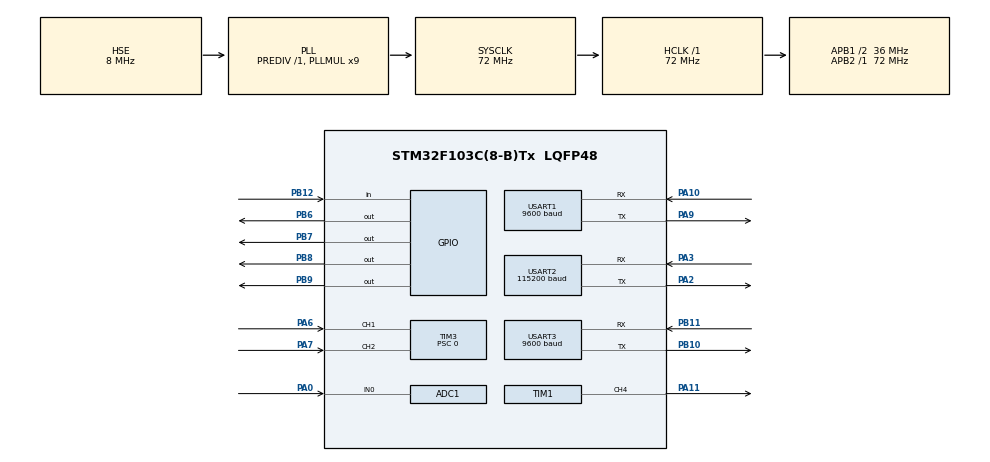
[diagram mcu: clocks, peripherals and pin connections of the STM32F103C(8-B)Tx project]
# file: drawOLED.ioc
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ADC1.Channel-0\#ChannelRegularConversion=ADC_CHANNEL_0
ADC1.NbrOfConversionFlag=1
ADC1.Rank-0\#ChannelRegularConversion=1
ADC1.SamplingTime-0\#ChannelRegularConversion=ADC_SAMPLETIME_1CYCLE_5
ADC1.master=1
FREERTOS.INCLUDE_xTaskAbortDelay=0
FREERTOS.INCLUDE_xTaskGetHandle=0
FREERTOS.Tasks01=OLED_Draw,-1,128,DrawPic,Default,NULL,Dynamic,NULL,NULL;KeyTask,-1,128,Key,Default,NULL,Dynamic,NULL,NULL;AOLED_Draw,-1,128,ADraw_Pic,Default,NULL,Dynamic,NULL,NULL;AKeyTask,-1,128,AKey,Default,NULL,Dynamic,NULL,NULL;JudgeWin,2,128,Judgewhowin,Default,NULL,Dynamic,NULL,NULL;BuzzerPlay,0,128,Playmusic,Default,NULL,Dynamic,NULL,NULL;WakeUp,2,128,GetwakeupFlag,Default,NULL,Dynamic,NULL,NULL
FREERTOS.configTICK_RATE_HZ=1000
FREERTOS.configTOTAL_HEAP_SIZE=6240
Mcu.Family=STM32F1
Mcu.Name=STM32F103C(8-B)Tx
Mcu.Package=LQFP48
NVIC.PriorityGroup=NVIC_PRIORITYGROUP_4
NVIC.TIM4_IRQn=true\:15\:0\:false\:false\:true\:false\:false\:true\:true
NVIC.TimeBase=TIM4_IRQn
NVIC.TimeBaseIP=TIM4
NVIC.USART1_IRQn=true\:5\:0\:false\:false\:true\:true\:true\:true\:true
NVIC.USART3_IRQn=true\:5\:0\:false\:false\:true\:true\:true\:true\:true
PA0-WKUP.Signal=ADCx_IN0
PA10.Mode=Asynchronous
PA10.Signal=USART1_RX
PA11.Signal=S_TIM1_CH4
PA13.Mode=Serial_Wire
PA13.Signal=SYS_JTMS-SWDIO
PA14.Mode=Serial_Wire
PA14.Signal=SYS_JTCK-SWCLK
PA2.Mode=Asynchronous
PA2.Signal=USART2_TX
PA3.Mode=Asynchronous
PA3.Signal=USART2_RX
PA6.Signal=S_TIM3_CH1
PA7.Signal=S_TIM3_CH2
PA9.Mode=Asynchronous
PA9.Signal=USART1_TX
PB10.Mode=Asynchronous
PB10.Signal=USART3_TX
PB11.Mode=Asynchronous
PB11.Signal=USART3_RX
PB12.GPIO_PuPd=GPIO_PULLDOWN
PB12.Signal=GPIO_Input
PB6.GPIO_ModeDefaultOutputPP=GPIO_MODE_OUTPUT_OD
PB6.GPIO_PuPd=GPIO_NOPULL
PB6.PinState=GPIO_PIN_SET
PB6.Signal=GPIO_Output
PB7.GPIO_ModeDefaultOutputPP=GPIO_MODE_OUTPUT_OD
PB7.GPIO_PuPd=GPIO_NOPULL
PB7.PinState=GPIO_PIN_SET
PB7.Signal=GPIO_Output
PB8.GPIO_ModeDefaultOutputPP=GPIO_MODE_OUTPUT_OD
PB8.GPIO_PuPd=GPIO_NOPULL
PB8.PinState=GPIO_PIN_SET
PB8.Signal=GPIO_Output
PB9.GPIO_ModeDefaultOutputPP=GPIO_MODE_OUTPUT_OD
PB9.GPIO_PuPd=GPIO_NOPULL
PB9.PinState=GPIO_PIN_SET
PB9.Signal=GPIO_Output
PD0-OSC_IN.Mode=HSE-External-Oscillator
PD0-OSC_IN.Signal=RCC_OSC_IN
PD1-OSC_OUT.Mode=HSE-External-Oscillator
PD1-OSC_OUT.Signal=RCC_OSC_OUT
ProjectManager.HeapSize=0x200
ProjectManager.StackSize=0x400
ProjectManager.TargetToolchain=MDK-ARM V5.32
RCC.ADCPresc=RCC_ADCPCLK2_DIV6
RCC.AHBFreq_Value=72000000
RCC.APB1CLKDivider=RCC_HCLK_DIV2
RCC.APB1Freq_Value=36000000
RCC.APB1TimFreq_Value=72000000
RCC.APB2Freq_Value=72000000
RCC.APB2TimFreq_Value=72000000
RCC.HCLKFreq_Value=72000000
RCC.PLLMUL=RCC_PLL_MUL9
RCC.PLLSourceVirtual=RCC_PLLSOURCE_HSE
RCC.SYSCLKFreq_VALUE=72000000
RCC.SYSCLKSource=RCC_SYSCLKSOURCE_PLLCLK
RCC.USBFreq_Value=72000000
SH.ADCx_IN0.0=ADC1_IN0,IN0
SH.S_TIM1_CH4.0=TIM1_CH4,PWM Generation4 CH4
SH.S_TIM3_CH1.0=TIM3_CH1,Encoder_Interface
SH.S_TIM3_CH2.0=TIM3_CH2,Encoder_Interface
TIM1.AutoReloadPreload=TIM_AUTORELOAD_PRELOAD_ENABLE
TIM1.Channel-PWM\ Generation4\ CH4=TIM_CHANNEL_4
TIM1.Period=999
TIM1.Prescaler=71
TIM3.EncoderMode=TIM_ENCODERMODE_TI12
TIM3.Period=65535
TIM3.Prescaler=0
USART1.BaudRate=9600
USART1.VirtualMode=VM_ASYNC
USART2.BaudRate=115200
USART2.VirtualMode=VM_ASYNC
USART3.BaudRate=9600
USART3.VirtualMode=VM_ASYNC
VP_FREERTOS_VS_CMSIS_V1.Mode=CMSIS_V1
VP_SYS_VS_tim4.Mode=TIM4
board=custom

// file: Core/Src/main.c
/* USER CODE BEGIN Header */
/**
  ******************************************************************************
  * @file           : main.c
  * @brief          : Main program body
  ******************************************************************************
  * @attention
  *
  * Copyright (c) 2025 STMicroelectronics.
  * All rights reserved.
  *
  * This software is licensed under terms that can be found in the LICENSE file
  * in the root directory of this software component.
  * If no LICENSE file comes with this software, it is provided AS-IS.
  *
  ******************************************************************************
  */
/* USER CODE END Header */
#include "main.h"
#include "cmsis_os.h"
#include "adc.h"
#include "tim.h"
#include "usart.h"
#include "gpio.h"

/* USER CODE BEGIN Includes */
#include "OLED.h"
#include "AOLED.h"
#include "winrecord.h"
#include "OLED_Data.h"
#include "String.h"
/* USER CODE END Includes */

/* USER CODE BEGIN PV */
//uint8_t RX_Buffer[4] = {0};
uint32_t Nowwakeup_Time = 0;
uint32_t Lastwakeup_Time = 0;
uint8_t Player1[32] = {0};
uint8_t Player2[32] = {0};
uint8_t ChoseDoneFlag = 0;
uint8_t AChoseDoneFlag = 0;
uint8_t Tempbuffer[4] = {0};
uint8_t ATempbuffer[4] = {0};

extern uint8_t Buffer[4];
extern uint8_t ABuffer[4];
/* USER CODE END PV */

void SystemClock_Config(void);
void MX_FREERTOS_Init(void);

int main(void)
{

  /* MCU Configuration--------------------------------------------------------*/

  /* Reset of all peripherals, Initializes the Flash interface and the Systick. */
  HAL_Init();

  /* Configure the system clock */
  SystemClock_Config();

  /* Initialize all configured peripherals */
  MX_GPIO_Init();
  MX_TIM1_Init();
  MX_USART1_UART_Init();
  MX_ADC1_Init();
  MX_USART3_UART_Init();
  MX_USART2_UART_Init();
  MX_TIM3_Init();
  /* USER CODE BEGIN 2 */

	OLED_Init();
	AOLED_Init();
	HAL_TIM_PWM_Start(&htim1,TIM_CHANNEL_4);
	HAL_TIM_Encoder_Start(&htim3, TIM_CHANNEL_ALL);
	HAL_UART_IRQHandler(&huart3);
	HAL_UART_IRQHandler(&huart1);
	//HAL_UART_Receive_IT(&huart3,Tempbuffer,sizeof(Tempbuffer));
	//HAL_UART_Receive_IT(&huart2,ATempbuffer,sizeof(ATempbuffer));
//	HAL_UART_Receive_IT(&huart3 , RX_Buffer , sizeof(RX_Buffer));
	WinRecord currentRecord;
  LoadWinRecord(&currentRecord);
	if (currentRecord.player1Wins == 0xFFFF || currentRecord.player2Wins == 0xFFFF) {
        currentRecord.player1Wins = 0;
				currentRecord.player2Wins = 0;
        SaveWinRecord(&currentRecord); // �״α���Ĭ��ֵ
    }
	while(!ChoseDoneFlag)
	{
		OLED_Printf(10, 20, OLED_6X8, "P1 choose roles");
		AOLED_Printf(10, 20, AOLED_6X8, "P1 choose roles");
		OLED_Update();
		AOLED_Update();
		//HAL_UART_Receive(&huart3 , Tempbuffer, sizeof(Tempbuffer), HAL_MAX_DELAY);
//		HAL_UART_Receive_IT(&huart3,Tempbuffer,sizeof(Tempbuffer));
		HAL_UART_Receive_IT(&huart3,Buffer,sizeof(Buffer));
		if(Buffer[0] == 0x20 && Buffer[3] == 0x61 )
		{
			if(Buffer[1] == 0x01 && Buffer[2] == 0x02)
			{
				memcpy(Player1, people1, 32);
				ChoseDoneFlag = 1;
				HAL_UART_Transmit(&huart3, Buffer, sizeof(Buffer), 100);
			}
			else if(Buffer[1] == 0x01 && Buffer[2] == 0x03)
			{
				memcpy(Player1, people2, 32);
				ChoseDoneFlag = 1;
				HAL_UART_Transmit(&huart3, Buffer, sizeof(Buffer), 100);
			}

		}
	}
	while(!AChoseDoneFlag)
	{
		OLED_Printf(10, 20, OLED_6X8, "P2 choose roles");
		AOLED_Printf(10, 20, AOLED_6X8, "P2 choose roles");
		OLED_Update();
		AOLED_Update();
		//HAL_UART_Receive(&huart2 , ATempbuffer, sizeof(ATempbuffer), HAL_MAX_DELAY);
		//HAL_UART_Receive_IT(&huart2,ATempbuffer,sizeof(ATempbuffer));
		HAL_UART_Receive_IT(&huart1,ABuffer,sizeof(ABuffer));
		if(ABuffer[0] == 0x20 && ABuffer[3] == 0x61 )
		{
			if(ABuffer[1] == 0x02 && ABuffer[2] == 0x02)
			{
				memcpy(Player2, people1, 32);
				AChoseDoneFlag = 1;
				HAL_UART_Transmit(&huart1, ABuffer, sizeof(ABuffer), 100);
			}
			else if(ABuffer[1] == 0x02 && ABuffer[2] == 0x03)
			{
				memcpy(Player2, people2, 32);
				AChoseDoneFlag = 1;
				HAL_UART_Transmit(&huart1, ABuffer, sizeof(ABuffer), 100);
			}

		}
	}
	OLED_Clear();
	AOLED_Clear();
	OLED_Printf(44, 20, OLED_6X8, "Welcome");
	OLED_Printf(2, 40, OLED_6X8, "Press Button to start");
	OLED_Printf(46, 56, OLED_6X8, " %d : %d",(int)currentRecord.player1Wins,(int)currentRecord.player2Wins);
	OLED_Update();
	AOLED_Printf(44, 20, AOLED_6X8, "Welcome");
	AOLED_Printf(2, 40, AOLED_6X8, "Press Button to start");
	AOLED_Printf(46, 56, AOLED_6X8, " %d : %d",(int)currentRecord.player1Wins,(int)currentRecord.player2Wins);
	AOLED_Update();
	while(HAL_GPIO_ReadPin(GPIOB,GPIO_PIN_12) == RESET){}
  /* USER CODE END 2 */

  /* Call init function for freertos objects (in cmsis_os2.c) */
  MX_FREERTOS_Init();

  /* Start scheduler */
  osKernelStart();

  /* We should never get here as control is now taken by the scheduler */

  /* Infinite loop */
  while (1)
  {

  }
}

void SystemClock_Config(void)
{
  RCC_OscInitTypeDef RCC_OscInitStruct = {0};
  RCC_ClkInitTypeDef RCC_ClkInitStruct = {0};
  RCC_PeriphCLKInitTypeDef PeriphClkInit = {0};

  /** Initializes the RCC Oscillators according to the specified parameters
  * in the RCC_OscInitTypeDef structure.
  */
  RCC_OscInitStruct.OscillatorType = RCC_OSCILLATORTYPE_HSE;
  RCC_OscInitStruct.HSEState = RCC_HSE_ON;
  RCC_OscInitStruct.HSEPredivValue = RCC_HSE_PREDIV_DIV1;
  RCC_OscInitStruct.HSIState = RCC_HSI_ON;
  RCC_OscInitStruct.PLL.PLLState = RCC_PLL_ON;
  RCC_OscInitStruct.PLL.PLLSource = RCC_PLLSOURCE_HSE;
  RCC_OscInitStruct.PLL.PLLMUL = RCC_PLL_MUL9;
  if (HAL_RCC_OscConfig(&RCC_OscInitStruct) != HAL_OK)
  {
    Error_Handler();
  }

  /** Initializes the CPU, AHB and APB buses clocks
  */
  RCC_ClkInitStruct.ClockType = RCC_CLOCKTYPE_HCLK|RCC_CLOCKTYPE_SYSCLK
                              |RCC_CLOCKTYPE_PCLK1|RCC_CLOCKTYPE_PCLK2;
  RCC_ClkInitStruct.SYSCLKSource = RCC_SYSCLKSOURCE_PLLCLK;
  RCC_ClkInitStruct.AHBCLKDivider = RCC_SYSCLK_DIV1;
  RCC_ClkInitStruct.APB1CLKDivider = RCC_HCLK_DIV2;
  RCC_ClkInitStruct.APB2CLKDivider = RCC_HCLK_DIV1;

  if (HAL_RCC_ClockConfig(&RCC_ClkInitStruct, FLASH_LATENCY_2) != HAL_OK)
  {
    Error_Handler();
  }
  PeriphClkInit.PeriphClockSelection = RCC_PERIPHCLK_ADC;
  PeriphClkInit.AdcClockSelection = RCC_ADCPCLK2_DIV6;
  if (HAL_RCCEx_PeriphCLKConfig(&PeriphClkInit) != HAL_OK)
  {
    Error_Handler();
  }
}

void HAL_TIM_PeriodElapsedCallback(TIM_HandleTypeDef *htim)
{
  if (htim->Instance == TIM4) {
    HAL_IncTick();
  }
}

void Error_Handler(void)
{
  __disable_irq();
  while (1)
  {
  }
}

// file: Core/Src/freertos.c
/* USER CODE BEGIN Header */
/**
  ******************************************************************************
  * File Name          : freertos.c
  * Description        : Code for freertos applications
  ******************************************************************************
  * @attention
  *
  * Copyright (c) 2025 STMicroelectronics.
  * All rights reserved.
  *
  * This software is licensed under terms that can be found in the LICENSE file
  * in the root directory of this software component.
  * If no LICENSE file comes with this software, it is provided AS-IS.
  *
  ******************************************************************************
  */
/* USER CODE END Header */

#include "FreeRTOS.h"
#include "task.h"
#include "main.h"
#include "cmsis_os.h"

/* USER CODE BEGIN Includes */
#include "AOLED.h"
#include "OLED.h"
#include "Information.h"
#include <stdint.h>
#include <string.h>
#include "winrecord.h"
#include "usart.h"
#include "wifi.h"
#include "adc.h"
#include "tim.h"
#include "ShareStruct.h"
/* USER CODE END Includes */

/* USER CODE BEGIN Variables */
uint16_t PWM = 0;
uint8_t Buffer[4];
uint8_t ABuffer[4];
//uint8_t Buffer[4];
//uint8_t ABuffer[4];
extern TIM_HandleTypeDef htim1;
extern UART_HandleTypeDef huart1;
//typedef struct {
//    uint8_t keyID;           // 按键ID
//    uint32_t timestamp;      // 时间戳（用于消抖）
//} KeyEvent_t;
QueueHandle_t AKeyQueue = NULL;
QueueHandle_t KeyQueue = NULL;
int8_t people1X = 0;
int8_t people1Y = 46;
int8_t people2X = 0;
int8_t people2Y = 46;
uint8_t temp = 0;
uint8_t Atemp = 0;
SemaphoreHandle_t P1Mutex = NULL;
SemaphoreHandle_t P2Mutex = NULL;
int HP = 3;
int AHP = 3;
extern Information platforms1[];
extern Information platforms2[];
extern Information platforms3[];
extern Information platforms4[];
extern Information platforms5[];
extern Information thorns1[];
extern Information thorns4[];
extern Information thorns5[];
uint8_t gameover = 0;
uint8_t Agameover = 0;
uint32_t lasttick = 0;
uint32_t nowtick = 0;
uint32_t Alasttick = 0;
uint32_t Anowtick = 0;
uint8_t State = 0; //关卡检测
static uint8_t Aflag = 0;
static uint8_t flag = 0;
Information moveplatform = {5,25,16,16};
Information Amoveplatform = {5,25,16,16};
int winround = 0;
int Awinround = 0;
uint8_t Whowin = 0;
uint8_t wakeup_flag = 1;
extern uint32_t Nowwakeup_Time;
extern uint32_t Lastwakeup_Time;
uint8_t RX_Buffer[4] = {0};
uint8_t ARX_Buffer[4] = {0};
extern uint8_t Player1[32];
extern uint8_t Player2[32];
/* USER CODE END Variables */
osThreadId OLED_DrawHandle;
osThreadId KeyTaskHandle;
osThreadId AOLED_DrawHandle;
osThreadId AKeyTaskHandle;
osThreadId JudgeWinHandle;
osThreadId BuzzerPlayHandle;
osThreadId WakeUpHandle;

/* USER CODE BEGIN FunctionPrototypes */
uint8_t JudgePlace(uint8_t peopleX, uint8_t peopleY ,Information *platforms ,uint8_t platformCount);
uint8_t JudgeThorns(uint8_t peopleX, uint8_t peopleY);
uint8_t Judgethrough (uint8_t peopleX, uint8_t peopleY ,Information *platforms ,uint8_t platformCount);
void LoadWinRecord(WinRecord *record);
void SaveWinRecord(WinRecord *record);
/* USER CODE END FunctionPrototypes */

void DrawPic(void const * argument);
void Key(void const * argument);
void ADraw_Pic(void const * argument);
void AKey(void const * argument);
void Judgewhowin(void const * argument);
void Playmusic(void const * argument);
void GetwakeupFlag(void const * argument);

void MX_FREERTOS_Init(void); /* (MISRA C 2004 rule 8.1) */

/* GetIdleTaskMemory prototype (linked to static allocation support) */
void vApplicationGetIdleTaskMemory( StaticTask_t **ppxIdleTaskTCBBuffer, StackType_t **ppxIdleTaskStackBuffer, uint32_t *pulIdleTaskStackSize );

/* USER CODE BEGIN GET_IDLE_TASK_MEMORY */
static StaticTask_t xIdleTaskTCBBuffer;
static StackType_t xIdleStack[configMINIMAL_STACK_SIZE];

void vApplicationGetIdleTaskMemory( StaticTask_t **ppxIdleTaskTCBBuffer, StackType_t **ppxIdleTaskStackBuffer, uint32_t *pulIdleTaskStackSize )
{
  *ppxIdleTaskTCBBuffer = &xIdleTaskTCBBuffer;
  *ppxIdleTaskStackBuffer = &xIdleStack[0];
  *pulIdleTaskStackSize = configMINIMAL_STACK_SIZE;
  /* place for user code */
}
/* USER CODE END GET_IDLE_TASK_MEMORY */

void MX_FREERTOS_Init(void) {
  /* USER CODE BEGIN Init */
	lasttick = HAL_GetTick();
  /* USER CODE END Init */

  /* USER CODE BEGIN RTOS_QUEUES */
  /* add queues, ... */

	//xSemaphoreGive(P1YBinary);
	P1Mutex = xSemaphoreCreateMutex();
	KeyQueue = xQueueCreate(4,sizeof(KeyEvent_t));
	AKeyQueue = xQueueCreate(4,sizeof(KeyEvent_t));
	P2Mutex = xSemaphoreCreateMutex();
  /* USER CODE END RTOS_QUEUES */

  /* Create the thread(s) */
  /* definition and creation of OLED_Draw */
  osThreadDef(OLED_Draw, DrawPic, osPriorityBelowNormal, 0, 128);
  OLED_DrawHandle = osThreadCreate(osThread(OLED_Draw), NULL);

  /* definition and creation of KeyTask */
  osThreadDef(KeyTask, Key, osPriorityBelowNormal, 0, 128);
  KeyTaskHandle = osThreadCreate(osThread(KeyTask), NULL);

  /* definition and creation of AOLED_Draw */
  osThreadDef(AOLED_Draw, ADraw_Pic, osPriorityBelowNormal, 0, 128);
  AOLED_DrawHandle = osThreadCreate(osThread(AOLED_Draw), NULL);

  /* definition and creation of AKeyTask */
  osThreadDef(AKeyTask, AKey, osPriorityBelowNormal, 0, 128);
  AKeyTaskHandle = osThreadCreate(osThread(AKeyTask), NULL);

  /* definition and creation of JudgeWin */
  osThreadDef(JudgeWin, Judgewhowin, osPriorityHigh, 0, 128);
  JudgeWinHandle = osThreadCreate(osThread(JudgeWin), NULL);

  /* definition and creation of BuzzerPlay */
  osThreadDef(BuzzerPlay, Playmusic, osPriorityNormal, 0, 128);
  BuzzerPlayHandle = osThreadCreate(osThread(BuzzerPlay), NULL);

  /* definition and creation of WakeUp */
  osThreadDef(WakeUp, GetwakeupFlag, osPriorityHigh, 0, 128);
  WakeUpHandle = osThreadCreate(osThread(WakeUp), NULL);

}

void DrawPic(void const * argument)
{
  /* USER CODE BEGIN DrawPic */

  /* Infinite loop */
  for(;;)
  {

		if(wakeup_flag == 1)
		{
			 OLED_WriteCommand(0x81);
     uint16_t i = LightSensor_GetValue()*255/4095;
     OLED_WriteCommand(i);
			if (xSemaphoreTake(P1Mutex, 100) == pdTRUE) {

				if(State == 0)
				{
					OLED_Clear();
				for (uint8_t i = 0; i < sizeof(platforms2)/sizeof(platforms2[0]); i++) {
      Information p = platforms2[i];
      OLED_ShowImage(p.x, p.y, p.width, p.height, platform);
  }
				OLED_ShowImage(124,34,4,16,Door);

				OLED_ShowImage(people1X,people1Y,16,16,Player2);
				OLED_Printf(100,0,OLED_6X8,"HP:%d",HP);
				OLED_Update();
				xSemaphoreGive(P1Mutex);
				}
				else if(State == 1)
				{
					OLED_Clear();
				for (uint8_t i = 0; i < sizeof(platforms3)/sizeof(platforms3[0]); i++) {
      Information p = platforms3[i];
      OLED_ShowImage(p.x, p.y, p.width, p.height, platform);
  }
				OLED_ShowImage(124,34,4,16,Door);

				OLED_ShowImage(people1X,people1Y,16,16,Player2);
				OLED_Printf(100,0,OLED_6X8,"HP:%d",HP);
				OLED_Update();
				xSemaphoreGive(P1Mutex);
				}
				else if(State == 2)
				{
					OLED_Clear();
				for (uint8_t i = 0; i < sizeof(platforms4)/sizeof(platforms4[0]); i++) {
      Information p = platforms4[i];
      OLED_ShowImage(p.x, p.y, p.width, p.height, platform);
  }
				OLED_ShowImage(124,34,4,16,Door);
				OLED_ShowImage(80,43,4,2,thorn);
				OLED_ShowImage(people1X,people1Y,16,16,Player2);
				OLED_Printf(100,0,OLED_6X8,"HP:%d",HP);
				OLED_Update();
				xSemaphoreGive(P1Mutex);
				}
				else if(State == 3)
				{
					OLED_Clear();
				for (uint8_t i = 0; i < sizeof(platforms1)/sizeof(platforms1[0]); i++) {
      Information p = platforms1[i];
      OLED_ShowImage(p.x, p.y, p.width, p.height, platform);
  }
				OLED_ShowImage(124,34,4,16,Door);
				OLED_ShowImage(18,62,4,2,thorn);
				OLED_ShowImage(people1X,people1Y,16,16,Player2);
				OLED_Printf(100,0,OLED_6X8,"HP:%d",HP);
				OLED_Update();
				xSemaphoreGive(P1Mutex);
				}
				else if(State == 4)
				{
				 OLED_Clear();
		for (uint8_t i = 0; i < sizeof(platforms5)/sizeof(platforms5[0]); i++) {
      Information p = platforms5[i];
      OLED_ShowImage(p.x, p.y, p.width, p.height, platform);

  }
		for (uint8_t i = 0; i < sizeof(thorns5)/sizeof(thorns5[0]); i++) {
      Information p = thorns5[i];
      OLED_ShowImage(p.x, p.y, p.width, p.height, thorn);

  }
			OLED_ShowImage(moveplatform.x, 25, 16, 16, platform);
			if(moveplatform.x == 110)
			{
				flag = 1;
			}
			else if(moveplatform.x == 5)
			{
				flag = 0;
			}
			if(flag == 0)
			{
				moveplatform.x += 1;
			}
			else
			{
				moveplatform.x -= 1;
			}
				OLED_ShowImage(124,34,4,16,Door);
				//OLED_ShowImage(18,62,4,2,thorn);
				OLED_ShowImage(people1X,people1Y,16,16,Player2);
				OLED_Printf(100,0,OLED_6X8,"HP:%d",HP);
				OLED_Update();
				xSemaphoreGive(P1Mutex);
				}
			}
			else
			{
				xSemaphoreGive(P1Mutex);
			}
		}
    osDelay(1);
  }
  /* USER CODE END DrawPic */
}

void Key(void const * argument)
{
  /* USER CODE BEGIN Key */

  KeyEvent_t Keyevent;

  /* Infinite loop */
  for(;;)
  {
		Nowwakeup_Time = HAL_GetTick();
		if(xQueueReceive(KeyQueue, &Keyevent, pdMS_TO_TICKS(100)) == pdPASS)
	 {
			if(xSemaphoreTake(P1Mutex,pdMS_TO_TICKS(100)) == pdTRUE)
		{
      Lastwakeup_Time = Nowwakeup_Time;

				switch(Keyevent.keyID)
			{

				case 5:
					if(State == 0)
					{
						if(people1X <= 110 && Judgethrough(people1X,people1Y,platforms2,sizeof(platforms2)/sizeof(platforms2[0])) == 0)
					 {
						people1X +=5;
					 }
					}
					else if(State == 1)
					{
						if(people1X <= 110 && Judgethrough(people1X,people1Y,platforms3,sizeof(platforms3)/sizeof(platforms3[0])) == 0)
					 {
						people1X +=5;
					 }
					}
					else if(State == 2)
					{
						if(people1X <= 110 && Judgethrough(people1X,people1Y,platforms4,sizeof(platforms4)/sizeof(platforms4[0])) == 0)
					 {
						people1X +=5;
					 }
					}
					else if(State == 3)
					{
						if(people1X <= 110 && Judgethrough(people1X,people1Y,platforms1,sizeof(platforms1)/sizeof(platforms1[0])) == 0)
					 {
						people1X +=5;
					 }
					}
					else if(State == 4)
					{
						if(people1X <= 110 && Judgethrough(people1X,people1Y,platforms5,sizeof(platforms5)/sizeof(platforms5[0])) == 0)
					 {
						people1X +=5;
					 }
					}
					if(JudgeThorns(people1X,people1Y) == 1)
				{
					nowtick = HAL_GetTick();
					if(HP == 3)
					{
						HP--;
					}
					else
					{
						if(nowtick - lasttick >=1500 )
						{
							HP--;
							lasttick = nowtick;
						}

					}
				}
				if(HP == 0)
				{
					gameover = 1;

				}

					break;
				case 4:
					if(people1X > 0)
					{
						people1X -=5;
					}
					//people1X -=5;

					break;
				case 6:
					if(temp <= 20)
					{
						people1Y -= 5;
						temp += 5;
						break;
					}
					else
					{
						people1Y += 2;
					}
			}

		}
			xSemaphoreGive(P1Mutex);
		}

		 else
		 {

			 if(State == 0)
			{
				if(people1Y < 48 && (JudgePlace(people1X,people1Y, platforms2 , sizeof(platforms2)/sizeof(platforms2[0])) == 0))
		    {

			  people1Y += 2;
		    }
			}
			  else if(State == 1)
			{
					if(people1Y < 48 && (JudgePlace(people1X,people1Y, platforms3 , sizeof(platforms3)/sizeof(platforms3[0])) == 0))
		    {

			  people1Y += 2;
		    }
			}
			else if(State == 2)
			{
					if(people1Y < 48 && (JudgePlace(people1X,people1Y, platforms4 , sizeof(platforms4)/sizeof(platforms4[0])) == 0))
		    {

			  people1Y += 2;
		    }
			}
			else if(State == 3)
			{
					if(people1Y < 48 && (JudgePlace(people1X,people1Y, platforms1 , sizeof(platforms1)/sizeof(platforms1[0])) == 0))
		    {

			  people1Y += 2;
		    }
			}
			else if(State == 4)
			{
					if(people1Y < 48 && (JudgePlace(people1X,people1Y, platforms5 , sizeof(platforms5)/sizeof(platforms5[0])) == 0))
		    {

			  people1Y += 2;
		    }
			}
		  temp = 0;
		 }

    osDelay(1);
  }
  /* USER CODE END Key */
}

void ADraw_Pic(void const * argument)
{
  /* USER CODE BEGIN ADraw_Pic */

  /* Infinite loop */
  for(;;)
  {

      if(wakeup_flag == 1)
		{
		AOLED_WriteCommand(0x81);
    uint16_t i = LightSensor_GetValue()*255/4095;
    AOLED_WriteCommand(i);

		if(xSemaphoreTake(P2Mutex , pdMS_TO_TICKS(100))== pdTRUE)
		{

			if(State == 0)
			{
			AOLED_Clear();
		for (uint8_t i = 0; i < sizeof(platforms2)/sizeof(platforms2[0]); i++) {
      Information p = platforms2[i];
      AOLED_ShowImage(p.x, p.y, p.width, p.height, platform);
  }

		AOLED_ShowImage(124,34,4,16,Door);
		//AOLED_ShowImage(80,42,4,2,thorn);
		AOLED_ShowImage(people2X,people2Y,16,16,Player1);
		AOLED_Printf(100,0,AOLED_6X8,"HP:%d",AHP);
		AOLED_Update();
		xSemaphoreGive(P2Mutex);
			}
			else if(State == 1)
			{

			AOLED_Clear();
		for (uint8_t i = 0; i < sizeof(platforms3)/sizeof(platforms3[0]); i++) {
      Information p = platforms3[i];
      AOLED_ShowImage(p.x, p.y, p.width, p.height, platform);
  }

		AOLED_ShowImage(124,34,4,16,Door);
		//AOLED_ShowImage(18,62,4,2,thorn);
		AOLED_ShowImage(people2X,people2Y,16,16,Player1);
		AOLED_Printf(100,0,AOLED_6X8,"HP:%d",AHP);
		AOLED_Update();
		xSemaphoreGive(P2Mutex);
			}
			else if(State == 2)
			{

			AOLED_Clear();
		for (uint8_t i = 0; i < sizeof(platforms4)/sizeof(platforms4[0]); i++) {
      Information p = platforms4[i];
      AOLED_ShowImage(p.x, p.y, p.width, p.height, platform);
  }

		AOLED_ShowImage(124,34,4,16,Door);
		AOLED_ShowImage(80,43,4,2,thorn);
		AOLED_ShowImage(people2X,people2Y,16,16,Player1);
		AOLED_Printf(100,0,AOLED_6X8,"HP:%d",AHP);
		AOLED_Update();
		xSemaphoreGive(P2Mutex);
			}
  		else if(State == 3)
			{

			AOLED_Clear();
		for (uint8_t i = 0; i < sizeof(platforms1)/sizeof(platforms1[0]); i++) {
      Information p = platforms1[i];
      AOLED_ShowImage(p.x, p.y, p.width, p.height, platform);
  }

		AOLED_ShowImage(124,34,4,16,Door);
		AOLED_ShowImage(18,62,4,2,thorn);
		AOLED_ShowImage(people2X,people2Y,16,16,Player1);
		AOLED_Printf(100,0,AOLED_6X8,"HP:%d",AHP);
		AOLED_Update();
		xSemaphoreGive(P2Mutex);
			}
			else if(State == 4)
			{

				AOLED_Clear();
		for (uint8_t i = 0; i < sizeof(platforms5)/sizeof(platforms5[0]); i++) {
      Information p = platforms5[i];
      AOLED_ShowImage(p.x, p.y, p.width, p.height, platform);

  }
		for (uint8_t i = 0; i < sizeof(thorns5)/sizeof(thorns5[0]); i++) {
      Information p = thorns5[i];
      AOLED_ShowImage(p.x, p.y, p.width, p.height, thorn);

  }
			AOLED_ShowImage(moveplatform.x, 25, 16, 16, platform);
			if(Amoveplatform.x == 110)
			{
				Aflag = 1;
			}
			else if(Amoveplatform.x == 5)
			{
				Aflag = 0;
			}
			if(Aflag == 0)
			{
				Amoveplatform.x += 1;
			}
			else
			{
				Amoveplatform.x -= 1;
			}

		AOLED_ShowImage(124,34,4,16,Door);
		//AOLED_ShowImage(80,38,4,2,thorn);
		AOLED_ShowImage(people2X,people2Y,16,16,Player1);
		AOLED_Printf(100,0,AOLED_6X8,"HP:%d",AHP);
		AOLED_Update();
		xSemaphoreGive(P2Mutex);
			}

	}
		else
		{
			xSemaphoreGive(P2Mutex);
		}

	}
    osDelay(1);
  }

  /* USER CODE END ADraw_Pic */
}

void AKey(void const * argument)
{
  /* USER CODE BEGIN AKey */
	KeyEvent_t AKeyevent;

  /* Infinite loop */
  for(;;)
  {
		Nowwakeup_Time = HAL_GetTick();
		if(xQueueReceive(AKeyQueue, &AKeyevent, pdMS_TO_TICKS(100)) == pdPASS)
	 {
			if(xSemaphoreTake(P2Mutex,pdMS_TO_TICKS(100)) == pdTRUE)
		{
       Lastwakeup_Time = Nowwakeup_Time;

				switch(AKeyevent.keyID)
			{

				case 2:

					if(State == 0)
					{
						if(people2X <= 110 && Judgethrough(people2X,people2Y,platforms2,sizeof(platforms2)/sizeof(platforms2[0])) == 0)
					 {
						people2X +=5;
					 }
					}
					else if(State == 1)
					{
						if(people2X <= 110 && Judgethrough(people2X,people2Y,platforms3,sizeof(platforms3)/sizeof(platforms3[0])) == 0)
					 {
						people2X +=5;
					 }
					}
					else if(State == 2)
					{
						if(people2X <= 110 && Judgethrough(people2X,people2Y,platforms4,sizeof(platforms4)/sizeof(platforms4[0])) == 0)
					 {
						people2X +=5;
					 }
					}
					else if(State == 3)
					{
						if(people2X <= 110 && Judgethrough(people2X,people2Y,platforms1,sizeof(platforms1)/sizeof(platforms1[0])) == 0)
					 {
						people2X +=5;
					 }
					}
					else if(State == 4)
					{
						if(people2X <= 110 && Judgethrough(people2X,people2Y,platforms5,sizeof(platforms5)/sizeof(platforms5[0])) == 0)
					 {
						people2X +=5;
					 }
					}
					if(JudgeThorns(people2X,people2Y) == 1)
				{
					Anowtick = HAL_GetTick();
					if(AHP == 3)
					{
						AHP--;
					}
					else
					{
						if(Anowtick - Alasttick >=1500 )
						{
							AHP--;
							Alasttick = Anowtick;
						}

					}
				}
				if(AHP == 0)
				{
					Agameover = 1;

				}

					break;

				case 3:
					if(people2X > 0)
					{
						people2X -=5;
					}

					break;

			  case 1:

					if(Atemp <= 20)
					{
						people2Y -= 5;
						Atemp +=5;

						break;
					}
					else
					{
						people2Y +=2;
					}

			}

		}
			xSemaphoreGive(P2Mutex);
		}
	 else
		 {

			if(State == 0)
			{
				if(people2Y < 48 && (JudgePlace(people2X,people2Y, platforms2 , sizeof(platforms2)/sizeof(platforms2[0])) == 0))
		    {

			  people2Y += 2;
		    }
			}
			  else if(State == 1)
			{
					if(people2Y < 48 && (JudgePlace(people2X,people2Y, platforms3 , sizeof(platforms3)/sizeof(platforms3[0])) == 0))
		    {

			  people2Y += 2;
		    }
			}
			 else if(State == 2)
			{
					if(people2Y < 48 && (JudgePlace(people2X,people2Y, platforms4 , sizeof(platforms4)/sizeof(platforms4[0])) == 0))
		    {

			  people2Y += 2;
		    }
			}
			 else if(State == 3)
			{
					if(people2Y < 48 && (JudgePlace(people2X,people2Y, platforms1 , sizeof(platforms1)/sizeof(platforms1[0])) == 0))
		    {

			  people2Y += 2;
		    }
			}
			 else if(State == 4)
			{
					if(people2Y < 48 && (JudgePlace(people2X,people2Y, platforms5 , sizeof(platforms5)/sizeof(platforms5[0])) == 0))
		    {

			  people2Y += 2;
		    }
			}
		  Atemp = 0;
		 }

    osDelay(1);
  }
  /* USER CODE END AKey */
}

void Judgewhowin(void const * argument)
{
  /* USER CODE BEGIN Judgewhowin */
//	uint8_t Whowin = 0;
	uint8_t finalflag = 0;
	uint8_t winflag = 0;

  /* Infinite loop */
  for(;;)
  {
		 if(State == 5)
		 {
			 finalflag = 1;
		 }

    if(finalflag == 0)
		{
			if(people1X + 14 > 124 && people1Y > 34)
	  {
		  Whowin = 1;
			HP = 3;
			AHP = 3;
			if(Whowin == 1 && winflag == 0)
			{
				winround++;
				winflag = 1;
			}
	  }
		else if(people2X + 14 > 124 && people2Y > 34)
	  {
		 Whowin = 2;
			HP = 3;
			AHP = 3;
			if(Whowin == 2 && winflag == 0)
			{
				Awinround++;
				winflag = 1;
			}
	  }

		if(gameover)
		{
			Whowin = 2;
			HP = 3;
			AHP = 3;
			gameover = 0;
			Awinround ++;
		}
		else if(Agameover)
		{
			Whowin = 1;
			HP = 3;
			AHP = 3;
			Agameover = 0;
			winround ++;
		}

		if(Whowin == 1)
		{

			OLED_Clear();
			if(State == 0)
			{
				OLED_Printf(44, 20, OLED_6X8, "R1 P1WIN!");

			  OLED_Update();
			}
			else if(State == 1)
			{
				OLED_Printf(44, 20, OLED_6X8, "R2 P1WIN!");

			  OLED_Update();
			}
			else if(State == 2)
			{
				OLED_Printf(44, 20, OLED_6X8, "R3 P1WIN!");

			  OLED_Update();
			}
			else if(State == 3)
			{
				OLED_Printf(44, 20, OLED_6X8, "R4 P1WIN!");

			  OLED_Update();
			}
			else if(State == 4)
			{
				OLED_Printf(44, 20, OLED_6X8, "R5 P1WIN!");

			  OLED_Update();
			}

			AOLED_Clear();
			if(State == 0)
			{
				AOLED_Printf(44, 20, AOLED_6X8, "R1 P1WIN!");

			  AOLED_Update();
			}
			else if(State == 1)
			{
				AOLED_Printf(44, 20, AOLED_6X8, "R2 P1WIN!");

			  AOLED_Update();
			}
			else if(State == 2)
			{
				AOLED_Printf(44, 20, AOLED_6X8, "R3 P1WIN!");

			  AOLED_Update();
			}
			else if(State == 3)
			{
				AOLED_Printf(44, 20, AOLED_6X8, "R4 P1WIN!");

			  AOLED_Update();
			}
			else if(State == 4)
			{
				AOLED_Printf(44, 20, AOLED_6X8, "R5 P1WIN!");

			  AOLED_Update();
			}

		}
		else if(Whowin == 2)
		{

			OLED_Clear();
			if(State == 0)
			{
				OLED_Printf(44, 20, OLED_6X8, "R1 P2WIN!");

			  OLED_Update();
			}
			else if(State == 1)
			{
				OLED_Printf(44, 20, OLED_6X8, "R2 P2WIN!");

			  OLED_Update();
			}
			else if(State == 2)
			{
				OLED_Printf(44, 20, OLED_6X8, "R3 P2WIN!");

			  OLED_Update();
			}
			else if(State == 3)
			{
				OLED_Printf(44, 20, OLED_6X8, "R4 P2WIN!");

			  OLED_Update();
			}
			else if(State == 4)
			{
				OLED_Printf(44, 20, OLED_6X8, "R5 P2WIN!");

			  OLED_Update();
			}

			AOLED_Clear();
			if(State == 0)
			{
				AOLED_Printf(44, 20, AOLED_6X8, "R1 P2WIN!");

			  AOLED_Update();
			}
			else if(State == 1)
			{
				AOLED_Printf(44, 20, AOLED_6X8, "R2 P2WIN!");

			  AOLED_Update();
			}
			else if(State == 2)
			{
				AOLED_Printf(44, 20, AOLED_6X8, "R3 P2WIN!");

			  AOLED_Update();
			}
			else if(State == 3)
			{
				AOLED_Printf(44, 20, AOLED_6X8, "R4 P2WIN!");

			  AOLED_Update();
			}
			else if(State == 4)
			{
				AOLED_Printf(44, 20, AOLED_6X8, "R5 P2WIN!");

			  AOLED_Update();
			}

		}
		}
		if(State == 5)
		{
			AOLED_Clear();
			AOLED_Printf(46, 20, AOLED_6X8, "GameOver");
			AOLED_Printf(46, 40, AOLED_6X8, " %d : %d",winround,Awinround);
			AOLED_Update();

			OLED_Clear();
			OLED_Printf(46, 20, OLED_6X8, "GameOver");
			OLED_Printf(46, 40, OLED_6X8, " %d : %d",winround,Awinround);
			OLED_Update();
			if(winround > Awinround)
			{
				WinRecord record;
				LoadWinRecord(&record);

				State ++;
				record.player1Wins ++;
			  Wifi_SendData(record.player1Wins , record.player2Wins);

				SaveWinRecord(&record);
			}
			else if(winround < Awinround )
			{
				WinRecord record;
				LoadWinRecord(&record);

				State ++;
				record.player2Wins ++;
				Wifi_SendData(record.player1Wins , record.player2Wins);
				SaveWinRecord(&record);
			}

		}
		if(Whowin == 1 || Whowin == 2)
		{

			  HAL_Delay(1500);
				State ++;
			  Whowin = 0;
				winflag = 0;
				people1X = 0;
				people1Y = 46;
				people2X = 0;
				people2Y = 46;

		}

    osDelay(1);
  }
  /* USER CODE END Judgewhowin */
}

void Playmusic(void const * argument)
{
  /* USER CODE BEGIN Playmusic */
	 //uint16_t PWM = 0;
  /* Infinite loop */
  for(;;)
  {
		if(PWM > 100)
		{
			PWM = 100;
		}
		__HAL_TIM_SET_COMPARE(&htim1,TIM_CHANNEL_4,PWM);
    PWM += Encoder_Get();
		Buzzer_SetFrequency(200);
    osDelay(50);
    Buzzer_SetFrequency(400);
    osDelay(50);
    Buzzer_SetFrequency(600);
    osDelay(50);
    osDelay(1);
  }
  /* USER CODE END Playmusic */
}

void GetwakeupFlag(void const * argument)
{
  /* USER CODE BEGIN GetwakeupFlag */
  /* Infinite loop */
  for(;;)
  {
		if(Nowwakeup_Time - Lastwakeup_Time > 10000)
		{
			wakeup_flag = 0;
			OLED_Clear();
			OLED_Update();
			AOLED_Clear();
			AOLED_Update();
		}
		if(wakeup_flag == 0)
		{
			HAL_UART_Receive_IT(&huart3,Buffer,sizeof(Buffer));
			if(Buffer[0] == 0x20 && Buffer[1] == 0x01 && Buffer[2] == 0x01&& Buffer[3] == 0x61)
				{

						wakeup_flag = 1;
						Lastwakeup_Time = Nowwakeup_Time;
						memset(Buffer, 0, sizeof(Buffer));

				}

		}
		if(wakeup_flag == 0)
		{
			HAL_UART_Receive_IT(&huart1,ABuffer,sizeof(ABuffer));
			if(ABuffer[0] == 0x20 && ABuffer[1] == 0x02 && ABuffer[2] == 0x01 && ABuffer[3] == 0x61)
				{

						wakeup_flag = 1;
						Lastwakeup_Time = Nowwakeup_Time;
						memset(ABuffer, 0, sizeof(ABuffer));

				}

		}

    osDelay(1);
  }
  /* USER CODE END GetwakeupFlag */
}

/* USER CODE BEGIN Application */
uint8_t JudgePlace(uint8_t peopleX, uint8_t peopleY ,Information *platforms ,uint8_t platformCount)
{
		const uint8_t peopleFeetY = peopleY + 9; // 人物底部Y坐标
    const uint8_t peopleLeft = peopleX + 1;
    const uint8_t peopleRight = peopleX + 8;

		if(State == 4)
		{
				if (peopleFeetY <= moveplatform.y  && peopleFeetY >= moveplatform.y - 1 ){
            if ((peopleRight > moveplatform.x) && (peopleLeft < moveplatform.x + moveplatform.width)) {
                return 1;
            }
					}
		}
    for (uint8_t i = 0; i < platformCount; i++) {
        Information p = platforms[i];
			if (peopleFeetY <= p.y  && peopleFeetY >= p.y - 1 ){
            if ((peopleRight > p.x) && (peopleLeft < p.x + p.width)) {
                return 1;
            }
        }

    }
    return 0;
}

uint8_t JudgeThorns(uint8_t peopleX, uint8_t peopleY)
{
		const uint8_t peopleFeetY = peopleY + 9; // 人物底部Y坐标
    const uint8_t peopleLeft = peopleX;
    const uint8_t peopleRight = peopleX + 16;
		if(State == 0)
		{
			return 0;
//			for (uint8_t i = 0; i < sizeof(thorns5)/sizeof(thorns5[0]); i++) {
//        Information p = thorns5[i];
//			if (peopleFeetY < p.y - 3 && peopleY > 42){
//            if ((peopleRight > p.x) && (peopleLeft < p.x )) {
//                return 1;
//            }
//        }
//     }
		}
		else if(State == 1)
		{
			return 0;
		}
		else if(State == 2)
		{
			for (uint8_t i = 0; i < thornCount; i++) {
        Information p = thorns4[i];
			if (peopleFeetY < p.y - 3 && peopleY > 25){
            if ((peopleRight > p.x) && (peopleLeft < p.x )) {
                return 1;
            }
        }
     }
		}
		else if(State == 3)
		{
			for (uint8_t i = 0; i < thornCount; i++) {
        Information p = thorns1[i];
			if (peopleFeetY < p.y - 3  && peopleY > 42){
            if ((peopleRight > p.x) && (peopleLeft < p.x )) {
                return 1;
            }
        }
     }
		}
		else if(State == 4)
		{
			for (uint8_t i = 0; i < sizeof(thorns5)/sizeof(thorns5[0]); i++) {
        Information p = thorns5[i];
			if (peopleFeetY < p.y - 3  && peopleY > 33){
            if ((peopleRight > p.x) && (peopleLeft < p.x )) {
                return 1;
            }
        }
     }
		}
    return 0;

}
uint8_t Judgethrough (uint8_t peopleX, uint8_t peopleY ,Information *platforms ,uint8_t platformCount)
{
	const uint8_t peopleFeetY = peopleY + 8;
	const uint8_t peoplehead = peopleY + 1 ;
	 const uint8_t peopleRight = peopleX + 16;
	if(peopleY > 46 && peopleX > 14 && peopleX + 4 < 20)
	{
		return 1;
	}
	 for (uint8_t i = 0; i < platformCount; i++) {
        Information p = platforms[i];
				if(p.y + 8 > peoplehead && peopleFeetY >= p.y + 10)
				{
					if(peopleRight > p.x)
					{
						return 1;
					}
				}
	 }
	 return 0;
}

void LoadWinRecord(WinRecord *record) {
    // 直接读取Flash地址的数据
    WinRecord *flashData = (WinRecord*)FLASH_SAVE_ADDR;
    memcpy(record, flashData, sizeof(WinRecord));
}
void SaveWinRecord(WinRecord *record) {
    // 擦除Flash页（必需）
    FLASH_EraseInitTypeDef eraseConfig;
    uint32_t pageError;
    eraseConfig.TypeErase = FLASH_TYPEERASE_PAGES;
    eraseConfig.PageAddress = FLASH_SAVE_ADDR;
    eraseConfig.NbPages = 1;

    HAL_FLASH_Unlock();
    HAL_FLASHEx_Erase(&eraseConfig, &pageError); // 擦除整个页

    // 按半字（16位）写入数据
    uint16_t *pData = (uint16_t*)record;
    for (uint16_t i = 0; i < sizeof(WinRecord); i += 2) {  // 共写入2次
        HAL_FLASH_Program(FLASH_TYPEPROGRAM_HALFWORD,
                         FLASH_SAVE_ADDR + i,
                         pData[i/2]);
    }

    HAL_FLASH_Lock();
}

/* USER CODE END Application */
